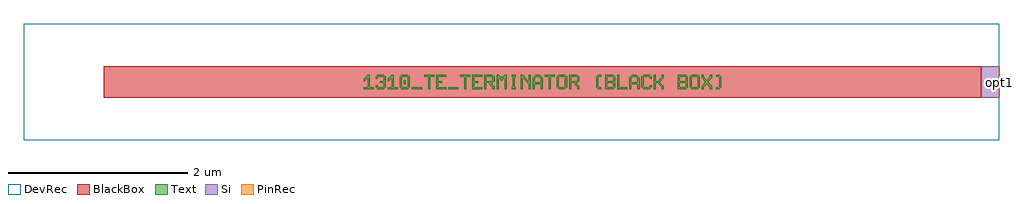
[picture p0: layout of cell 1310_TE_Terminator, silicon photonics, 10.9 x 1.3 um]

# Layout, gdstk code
import gdstk
lib = gdstk.Library(unit=1e-6, precision=1e-09)
def R(c, l, rs):  # rectangles x0, y0, x1, y1
    for r in rs: c.add(gdstk.rectangle(r[:2], r[2:], *l))
def P(c, l, *ps):  # polygons
    for p in ps: c.add(gdstk.Polygon(p, *l))
Si = (1, 0)
PinRec = (1, 10)
Text = (10, 0)
DevRec = (68, 0)
BlackBox = (998, 0)

text = lib.new_cell('TEXT')
R(text, Text, [(0.54,0,0.653,0.023), (0.945,0,1.058,0.023), (0.45,0.056,0.473,0.101)])
P(text, Text, [(0,0),(0,0.023),(0.045,0.023),(0.045,0.113),(0.034,0.113),(0.011,0.09),(0,0.09),(0,0.113),(0.045,0.158),(0.068,0.158),(0.068,0.023),(0.113,0.023),(0.113,0)],
  [(0.158,0),(0.135,0.023),(0.135,0.045),(0.158,0.045),(0.158,0.034),(0.169,0.023),(0.214,0.023),(0.225,0.034),(0.225,0.056),(0.214,0.068),(0.18,0.068),(0.18,0.09),(0.214,0.09),(0.225,0.101),(0.225,0.124),(0.214,0.135),(0.169,0.135),(0.158,0.124),(0.158,0.113),(0.135,0.113),(0.135,0.135),(0.158,0.158),(0.225,0.158),(0.248,0.135),(0.248,0.09),(0.236,0.079),(0.248,0.068),(0.248,0.023),(0.225,0)],
  [(0.27,0),(0.27,0.023),(0.315,0.023),(0.315,0.113),(0.304,0.113),(0.281,0.09),(0.27,0.09),(0.27,0.113),(0.315,0.158),(0.338,0.158),(0.338,0.023),(0.383,0.023),(0.383,0)],
  [(0.428,0),(0.405,0.023),(0.405,0.135),(0.428,0.158),(0.495,0.158),(0.518,0.135),(0.439,0.135),(0.428,0.124),(0.428,0.034),(0.439,0.023),(0.484,0.023),(0.495,0.034),(0.495,0.124),(0.484,0.135),(0.518,0.135),(0.518,0.023),(0.495,0)],
  [(0.72,0),(0.72,0.135),(0.675,0.135),(0.675,0.158),(0.788,0.158),(0.788,0.135),(0.743,0.135),(0.743,0)],
  [(0.81,0),(0.81,0.158),(0.923,0.158),(0.923,0.135),(0.833,0.135),(0.833,0.09),(0.878,0.09),(0.878,0.068),(0.833,0.068),(0.833,0.023),(0.923,0.023),(0.923,0)],
  [(1.125,0),(1.125,0.135),(1.08,0.135),(1.08,0.158),(1.193,0.158),(1.193,0.135),(1.148,0.135),(1.148,0)],
  [(1.215,0),(1.215,0.158),(1.328,0.158),(1.328,0.135),(1.238,0.135),(1.238,0.09),(1.283,0.09),(1.283,0.068),(1.238,0.068),(1.238,0.023),(1.328,0.023),(1.328,0)],
  [(1.35,0),(1.35,0.158),(1.44,0.158),(1.463,0.135),(1.373,0.135),(1.373,0.09),(1.429,0.09),(1.44,0.101),(1.44,0.124),(1.429,0.135),(1.463,0.135),(1.463,0.09),(1.44,0.068),(1.44,0.056),(1.463,0.034),(1.463,0),(1.44,0),(1.44,0.023),(1.395,0.068),(1.373,0.068),(1.373,0)],
  [(1.485,0),(1.485,0.158),(1.508,0.158),(1.53,0.135),(1.553,0.135),(1.575,0.158),(1.598,0.158),(1.598,0),(1.575,0),(1.575,0.113),(1.564,0.113),(1.541,0.09),(1.519,0.113),(1.508,0.113),(1.508,0)],
  [(1.654,0),(1.654,0.023),(1.665,0.023),(1.665,0.135),(1.654,0.135),(1.654,0.158),(1.699,0.158),(1.699,0.135),(1.688,0.135),(1.688,0.023),(1.699,0.023),(1.699,0)],
  [(1.755,0),(1.755,0.158),(1.778,0.158),(1.834,0.101),(1.845,0.101),(1.845,0.158),(1.868,0.158),(1.868,0),(1.845,0),(1.845,0.056),(1.789,0.113),(1.778,0.113),(1.778,0)],
  [(1.89,0),(1.89,0.124),(1.924,0.158),(1.969,0.158),(1.991,0.135),(1.935,0.135),(1.913,0.113),(1.913,0.079),(1.98,0.079),(1.98,0.113),(1.958,0.135),(1.991,0.135),(2.003,0.124),(2.003,0),(1.98,0),(1.98,0.056),(1.913,0.056),(1.913,0)],
  [(2.07,0),(2.07,0.135),(2.025,0.135),(2.025,0.158),(2.138,0.158),(2.138,0.135),(2.093,0.135),(2.093,0)],
  [(2.183,0),(2.16,0.023),(2.16,0.135),(2.183,0.158),(2.25,0.158),(2.273,0.135),(2.273,0.079),(2.25,0.079),(2.25,0.124),(2.239,0.135),(2.194,0.135),(2.183,0.124),(2.183,0.034),(2.194,0.023),(2.239,0.023),(2.25,0.034),(2.25,0.079),(2.273,0.079),(2.273,0.023),(2.25,0)],
  [(2.295,0),(2.295,0.158),(2.385,0.158),(2.408,0.135),(2.318,0.135),(2.318,0.09),(2.374,0.09),(2.385,0.101),(2.385,0.124),(2.374,0.135),(2.408,0.135),(2.408,0.09),(2.385,0.068),(2.385,0.056),(2.408,0.034),(2.408,0),(2.385,0),(2.385,0.023),(2.34,0.068),(2.318,0.068),(2.318,0)],
  [(2.621,0),(2.599,0.023),(2.599,0.135),(2.621,0.158),(2.655,0.158),(2.655,0.135),(2.633,0.135),(2.621,0.124),(2.621,0.034),(2.633,0.023),(2.655,0.023),(2.655,0)],
  [(2.7,0),(2.7,0.158),(2.79,0.158),(2.813,0.135),(2.723,0.135),(2.723,0.09),(2.779,0.09),(2.79,0.101),(2.79,0.124),(2.779,0.135),(2.813,0.135),(2.813,0.09),(2.801,0.079),(2.813,0.068),(2.723,0.068),(2.723,0.023),(2.779,0.023),(2.79,0.034),(2.79,0.056),(2.779,0.068),(2.813,0.068),(2.813,0.023),(2.79,0)],
  [(2.835,0),(2.835,0.158),(2.858,0.158),(2.858,0.023),(2.948,0.023),(2.948,0)],
  [(2.97,0),(2.97,0.124),(3.004,0.158),(3.049,0.158),(3.071,0.135),(3.015,0.135),(2.993,0.113),(2.993,0.079),(3.06,0.079),(3.06,0.113),(3.038,0.135),(3.071,0.135),(3.083,0.124),(3.083,0),(3.06,0),(3.06,0.056),(2.993,0.056),(2.993,0)],
  [(3.128,0),(3.105,0.023),(3.105,0.135),(3.128,0.158),(3.195,0.158),(3.218,0.135),(3.218,0.113),(3.195,0.113),(3.195,0.124),(3.184,0.135),(3.139,0.135),(3.128,0.124),(3.128,0.034),(3.139,0.023),(3.184,0.023),(3.195,0.034),(3.195,0.045),(3.218,0.045),(3.218,0.023),(3.195,0)],
  [(3.24,0),(3.24,0.158),(3.263,0.158),(3.263,0.09),(3.285,0.09),(3.33,0.135),(3.33,0.158),(3.353,0.158),(3.353,0.124),(3.308,0.079),(3.353,0.034),(3.353,0),(3.33,0),(3.33,0.023),(3.285,0.068),(3.263,0.068),(3.263,0)],
  [(3.51,0),(3.51,0.158),(3.6,0.158),(3.623,0.135),(3.533,0.135),(3.533,0.09),(3.589,0.09),(3.6,0.101),(3.6,0.124),(3.589,0.135),(3.623,0.135),(3.623,0.09),(3.611,0.079),(3.623,0.068),(3.533,0.068),(3.533,0.023),(3.589,0.023),(3.6,0.034),(3.6,0.056),(3.589,0.068),(3.623,0.068),(3.623,0.023),(3.6,0)],
  [(3.668,0),(3.645,0.023),(3.645,0.135),(3.668,0.158),(3.735,0.158),(3.758,0.135),(3.758,0.079),(3.735,0.079),(3.735,0.124),(3.724,0.135),(3.679,0.135),(3.668,0.124),(3.668,0.034),(3.679,0.023),(3.724,0.023),(3.735,0.034),(3.735,0.079),(3.758,0.079),(3.758,0.023),(3.735,0)],
  [(3.78,0),(3.78,0.034),(3.814,0.068),(3.814,0.09),(3.78,0.124),(3.78,0.158),(3.803,0.158),(3.803,0.135),(3.836,0.101),(3.87,0.135),(3.87,0.158),(3.893,0.158),(3.893,0.124),(3.859,0.09),(3.859,0.068),(3.893,0.034),(3.893,0),(3.87,0),(3.87,0.023),(3.836,0.056),(3.803,0.023),(3.803,0)],
  [(3.938,0),(3.938,0.023),(3.96,0.023),(3.971,0.034),(3.971,0.124),(3.96,0.135),(3.938,0.135),(3.938,0.158),(3.971,0.158),(3.994,0.135),(3.994,0.023),(3.971,0)])

c_1310_te_terminator = lib.new_cell('1310_TE_Terminator')
R(c_1310_te_terminator, Si, [(-0.2,-0.175,0,0.175)])
R(c_1310_te_terminator, DevRec, [(-10.9,-0.65,0,0.65)])
R(c_1310_te_terminator, BlackBox, [(-10.005,-0.175,-0.2,0.175)])
c_1310_te_terminator.add(gdstk.FlexPath([(-0.005,0),(0.005,0)], 0.35, ends="flush", simple_path=True, layer=1, datatype=10))  # PinRec
c_1310_te_terminator.add(gdstk.Reference(text, (-7.1,-0.079)))
c_1310_te_terminator.add(gdstk.Label('opt1', (0,0), layer=1, texttype=10))

lib.write_gds('1310_TE_Terminator.gds')
